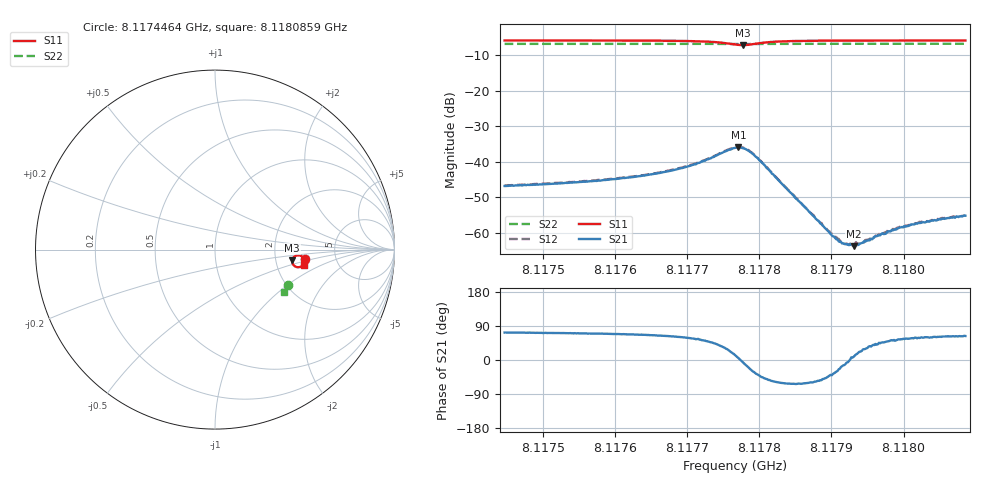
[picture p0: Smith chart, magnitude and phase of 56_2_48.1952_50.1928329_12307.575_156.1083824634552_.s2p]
#  HZ  S  RI  R  50.00
! Rohde & Schwarz Vector Network Analyzer
! Rohde-Schwarz,ZNB20-2Port,1311601062101988,3.16
! Created: UTC 3/20/2024, 11:38:34 AM
! freq[Hz]  re:S11  im:S11  re:S21  im:S21  re:S12  im:S12  re:S22  im:S22
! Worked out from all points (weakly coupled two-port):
!   401 points, 8.1174464 GHz to 8.1180859 GHz, reference 50 ohm
!   highest |S21| = -35.97 dB at 8.1177709 GHz (marker M1); lowest = -63.8 dB at 8.1179308 GHz (marker M2)
!   lowest |S11| = -7.2 dB at 8.1177773 GHz (marker M3), VSWR 2.54, Z = 124 - j18.1 ohm
!   |S11| at or under -10 dB: nowhere
!   |S22| runs from -6.9 to -6.9 dB; largest |S21 - S12| = 0.00053
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8.11744637e9  0.5024 -0.0532  0.00136 0.00434  0.00143 0.00442  0.406 -0.1985
8.11755349e9  0.5002 -0.064  0.00176 0.00488  0.00183 0.00496  0.403 -0.2053
8.11762063e9  0.4978 -0.0725  0.00228 0.00556  0.00238 0.00565  0.4009 -0.2098
8.1176606e9  0.4948 -0.079  0.00297 0.00623  0.0031 0.00631  0.3995 -0.2124
8.11770857e9  0.4858 -0.0902  0.00503 0.00756  0.00522 0.00765  0.3976 -0.2157
8.11774694e9  0.4603 -0.0982  0.0106 0.0078  0.0108 0.00786  0.3953 -0.2181
8.11776612e9  0.4354 -0.0829  0.0152 0.00349  0.0157 0.00334  0.3937 -0.2182
8.11777092e9  0.4312 -0.0737  0.0159 0.00137  0.016 0.00127  0.3936 -0.218
8.11777731e9  0.4306 -0.0593  0.0153 -0.00173  0.0156 -0.00193  0.3935 -0.2178
8.11778691e9  0.4402 -0.0408  0.0126 -0.00549  0.0127 -0.00575  0.3938 -0.2177
8.1177997e9  0.461 -0.0316  0.00799 -0.00689  0.00798 -0.00704  0.3944 -0.2184
8.11782688e9  0.4866 -0.0404  0.00273 -0.00468  0.00276 -0.00476  0.3947 -0.2206
8.11787324e9  0.4969 -0.0571  0.000913 -0.00153  0.000942 -0.00156  0.3935 -0.2242
8.11790202e9  0.4982 -0.0635  0.000715 -0.000535  0.000743 -0.00053  0.3926 -0.2263
8.11790841e9  0.4984 -0.0649  0.000704 -0.000386  0.00071 -0.000417  0.3924 -0.2266
8.11791961e9  0.4986 -0.0669  0.000686 -0.000127  0.000687 -0.00011  0.3922 -0.2274
8.1179308e9  0.4986 -0.0687  0.000642 9.57e-05  0.000675 7.76e-05  0.3917 -0.2281
8.11794199e9  0.4987 -0.0704  0.000656 0.000293  0.000667 0.000273  0.3914 -0.2288
8.11798036e9  0.4987 -0.0756  0.000672 0.000804  0.000674 0.0008  0.3899 -0.2314
8.11799795e9  0.4983 -0.0777  0.000698 0.000988  0.00076 0.000951  0.3893 -0.2325
8.11802512e9  0.4981 -0.0807  0.000701 0.0012  0.000734 0.00123  0.3886 -0.2342
8.11808588e9  0.4974 -0.0868  0.00078 0.00155  0.000801 0.00156  0.3864 -0.2379
